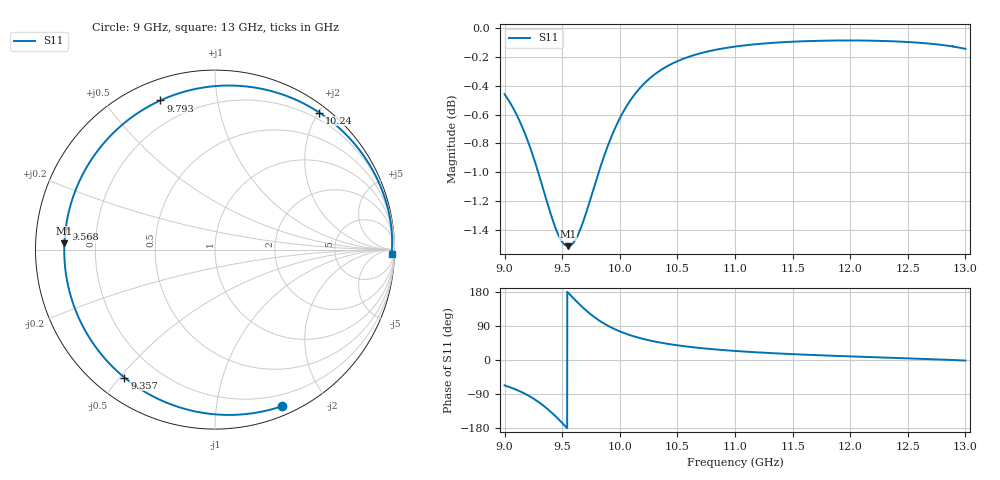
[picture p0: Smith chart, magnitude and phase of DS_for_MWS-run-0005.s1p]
! TOUCHSTONE file generated by CST DESIGN STUDIO
! Date and time: Tue Feb  4 17:04:21 2025
! Project name: C:\Work\MatlabApps\UnitCellOptimizationMatlab\CST\unitcell.cst
! Tree item: Tasks\Sweep1\SPara1\S-Parameters
! Header version: 2024
! Port assignment regex: !\s*Touchstone port\s*([0-9]+)\s*=\s*(CST MWS port|CST DES external port|CST DES block port)\s*(.+)\s* \(\"(.*)\"\)(\s*mode\s*([0-9]+))?.*
! Touchstone port assignment:
! Touchstone port 1 = CST DES external port 1 ("")
# GHz S MA R 50
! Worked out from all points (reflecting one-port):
!   4001 points, 9 GHz to 13 GHz, reference 50 ohm
!   lowest |S11| = -1.5 dB at 9.551 GHz (marker M1), VSWR 11.50, Z = 4.35 + j1.03 ohm
!   phase of S11 starts at -67 deg and turns -294 deg over the sweep
!   S11 on the Smith chart (normalised r, x): 9 GHz: 0.09, -1.51; 9.357 GHz: 0.09, -0.51; 9.568 GHz: 0.09, +0.07; 9.793 GHz: 0.09, +0.70; 10.24 GHz: 0.10, +2.02; 13 GHz: 35, -55
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9  0.9486 -67.0
9.036  0.9438 -70.7
9.101  0.9337 -78.3
9.211  0.9115 -94.7
9.288  0.8922 -109.4
9.357  0.8733 -125.3
9.425  0.856 -143.6
9.464  0.848 -155.1
9.5  0.8428 -166.2
9.551  0.84 177.6
9.568  0.8403 172.2
9.623  0.8454 155.0
9.685  0.8573 136.9
9.738  0.8704 122.9
9.793  0.885 110.1
9.837  0.8963 101.0
9.885  0.9078 92.3
10  0.9305 75.5
10.115  0.9469 63.0
10.244  0.9595 52.6
10.363  0.9676 45.3
10.5  0.974 38.8
10.721  0.9807 30.9
11  0.9855 23.9
11.5  0.9894 15.5
12  0.9903 9.5
12.5  0.9891 4.3
13  0.9837 -1.5
